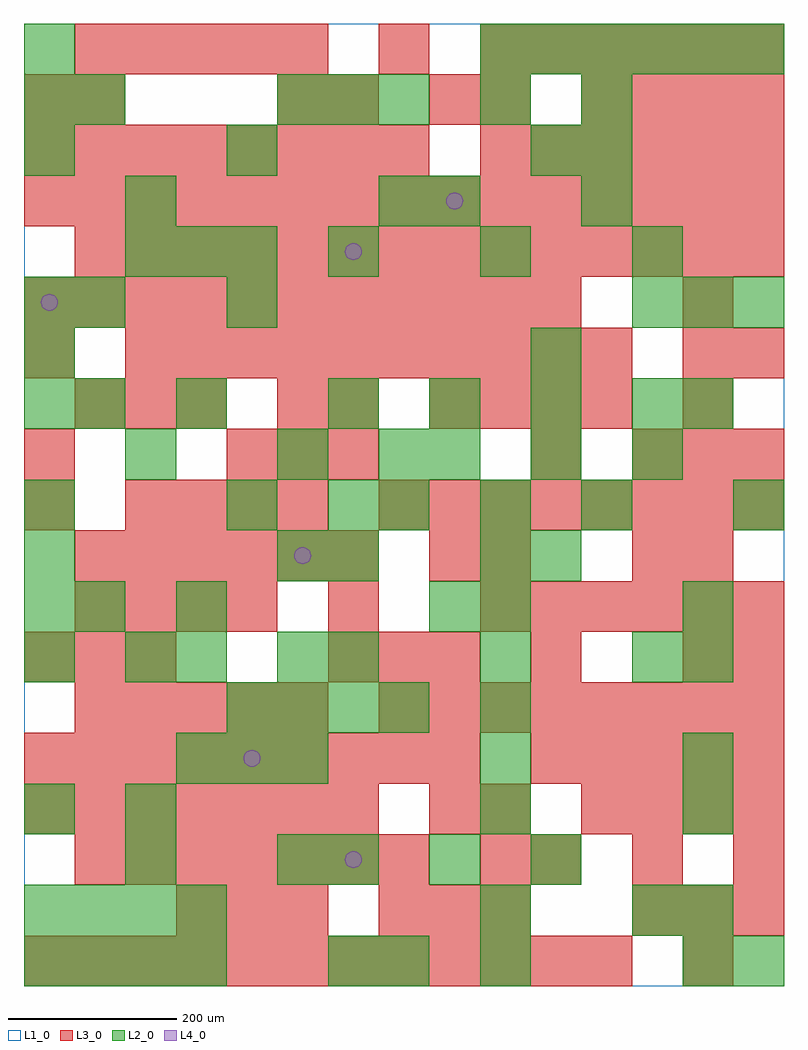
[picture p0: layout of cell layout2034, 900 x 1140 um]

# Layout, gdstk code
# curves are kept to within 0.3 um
import gdstk
lib = gdstk.Library(unit=1e-6, precision=1e-09)
def R(c, l, rs):  # rectangles x0, y0, x1, y1
    for r in rs: c.add(gdstk.rectangle(r[:2], r[2:], *l))
def A(c, l, x, y, w, h, nx, ny, dx, dy):  # array of equal rectangles
    R(c, l, [(x+i*dx, y+j*dy, x+i*dx+w, y+j*dy+h) for i in range(nx) for j in range(ny)])
def P(c, l, *ps):  # polygons
    for p in ps: c.add(gdstk.Polygon(p, *l))
L1_0 = (1, 0)
L2_0 = (2, 0)
L3_0 = (3, 0)
L4_0 = (4, 0)

layout2034 = lib.new_cell('layout2034')
R(layout2034, L1_0, [(0,0,900,1140)])
A(layout2034, L2_0, 0, 0, 60, 60, 4, 2, 60, 60)
A(layout2034, L2_0, 360, 120, 60, 60, 3, 1, 120, 0)
A(layout2034, L2_0, 540, 180, 60, 60, 1, 3, 0, 60)
A(layout2034, L2_0, 180, 240, 60, 60, 3, 1, 60, 0)
A(layout2034, L2_0, 240, 300, 60, 60, 4, 1, 60, 0)
A(layout2034, L2_0, 0, 360, 60, 60, 1, 4, 0, 60)
A(layout2034, L2_0, 300, 360, 60, 60, 1, 3, 0, 120)
A(layout2034, L2_0, 360, 360, 60, 60, 3, 2, 180, 480)
A(layout2034, L2_0, 600, 480, 60, 60, 1, 3, 0, 240)
A(layout2034, L2_0, 420, 540, 60, 60, 3, 1, 120, 0)
A(layout2034, L2_0, 480, 600, 60, 60, 3, 1, 120, 0)
A(layout2034, L2_0, 0, 660, 60, 60, 1, 3, 0, 60)
A(layout2034, L2_0, 360, 660, 60, 60, 4, 1, 120, 0)
A(layout2034, L2_0, 720, 780, 60, 60, 3, 1, 60, 0)
A(layout2034, L2_0, 120, 840, 60, 60, 3, 1, 60, 0)
A(layout2034, L2_0, 660, 900, 60, 60, 1, 3, 0, 60)
A(layout2034, L2_0, 0, 960, 60, 60, 1, 3, 0, 60)
A(layout2034, L2_0, 300, 1020, 60, 60, 3, 1, 60, 0)
A(layout2034, L2_0, 540, 1080, 60, 60, 6, 1, 60, 0)
R(layout2034, L2_0, [(360,0,420,60), (420,0,480,60), (540,0,600,60), (780,0,840,60), (840,0,900,60), (540,60,600,120), (720,60,780,120), (780,60,840,120), (120,120,180,180), (300,120,360,180), (0,180,60,240), (120,180,180,240), (780,180,840,240), (780,240,840,300), (120,360,180,420), (180,360,240,420), (780,360,840,420), (60,420,120,480), (180,420,240,480), (480,420,540,480), (540,420,600,480), (780,420,840,480), (360,480,420,540), (540,480,600,540), (240,540,300,600), (360,540,420,600), (840,540,900,600), (120,600,180,660), (420,600,480,660), (60,660,120,720), (180,660,240,720), (780,660,840,720), (60,780,120,840), (240,780,300,840), (120,900,180,960), (420,900,480,960), (480,900,540,960), (240,960,300,1020), (60,1020,120,1080), (540,1020,600,1080)])
A(layout2034, L3_0, 0, 0, 60, 60, 12, 1, 60, 0)
A(layout2034, L3_0, 180, 60, 60, 60, 3, 1, 60, 0)
A(layout2034, L3_0, 420, 60, 60, 60, 3, 1, 60, 0)
A(layout2034, L3_0, 720, 60, 60, 60, 3, 2, 60, 540)
A(layout2034, L3_0, 60, 120, 60, 60, 7, 1, 60, 0)
A(layout2034, L3_0, 600, 120, 60, 60, 3, 1, 120, 0)
A(layout2034, L3_0, 0, 180, 60, 60, 7, 1, 60, 0)
A(layout2034, L3_0, 660, 180, 60, 60, 4, 2, 60, 840)
A(layout2034, L3_0, 0, 240, 60, 60, 9, 1, 60, 0)
A(layout2034, L3_0, 600, 240, 60, 60, 5, 1, 60, 0)
A(layout2034, L3_0, 60, 300, 60, 60, 5, 2, 60, 780)
A(layout2034, L3_0, 420, 300, 60, 60, 8, 2, 60, 240)
A(layout2034, L3_0, 0, 360, 60, 60, 3, 1, 60, 0)
A(layout2034, L3_0, 360, 360, 60, 60, 3, 1, 60, 0)
A(layout2034, L3_0, 60, 420, 60, 60, 4, 1, 60, 0)
A(layout2034, L3_0, 540, 420, 60, 60, 6, 2, 60, 540)
A(layout2034, L3_0, 60, 480, 60, 60, 6, 1, 60, 0)
A(layout2034, L3_0, 120, 540, 60, 60, 4, 1, 60, 0)
A(layout2034, L3_0, 240, 600, 60, 60, 3, 1, 60, 0)
A(layout2034, L3_0, 60, 660, 60, 60, 3, 1, 60, 0)
A(layout2034, L3_0, 480, 660, 60, 60, 4, 1, 60, 0)
A(layout2034, L3_0, 780, 660, 60, 60, 1, 3, 0, 60)
A(layout2034, L3_0, 120, 720, 60, 60, 10, 1, 60, 0)
A(layout2034, L3_0, 0, 780, 60, 60, 11, 1, 60, 0)
A(layout2034, L3_0, 60, 840, 60, 60, 14, 1, 60, 0)
A(layout2034, L3_0, 0, 900, 60, 60, 15, 1, 60, 0)
A(layout2034, L3_0, 0, 960, 60, 60, 8, 1, 60, 0)
A(layout2034, L3_0, 540, 1080, 60, 60, 6, 1, 60, 0)
R(layout2034, L3_0, [(780,0,840,60), (540,120,600,180), (480,180,540,240), (540,180,600,240), (600,360,660,420), (780,360,840,420), (840,360,900,420), (360,420,420,480), (480,480,540,540), (540,480,600,540), (720,480,780,540), (780,480,840,540), (0,540,60,600), (0,600,60,660), (600,600,660,660), (300,660,360,720), (360,660,420,720), (0,720,60,780), (840,720,900,780), (0,1020,60,1080), (60,1020,120,1080), (300,1020,360,1080), (360,1020,420,1080), (480,1020,540,1080), (540,1020,600,1080), (420,1080,480,1140)])
P(layout2034, L4_0, [(40,810),(39.239,813.827),(37.071,817.071),(33.827,819.239),(30,820),(26.173,819.239),(22.929,817.071),(20.761,813.827),(20,810),(20.761,806.173),(22.929,802.929),(26.173,800.761),(30,800),(33.827,800.761),(37.071,802.929),(39.239,806.173)],
  [(280,270),(279.239,273.827),(277.071,277.071),(273.827,279.239),(270,280),(266.173,279.239),(262.929,277.071),(260.761,273.827),(260,270),(260.761,266.173),(262.929,262.929),(266.173,260.761),(270,260),(273.827,260.761),(277.071,262.929),(279.239,266.173)],
  [(340,510),(339.239,513.827),(337.071,517.071),(333.827,519.239),(330,520),(326.173,519.239),(322.929,517.071),(320.761,513.827),(320,510),(320.761,506.173),(322.929,502.929),(326.173,500.761),(330,500),(333.827,500.761),(337.071,502.929),(339.239,506.173)],
  [(400,150),(399.239,153.827),(397.071,157.071),(393.827,159.239),(390,160),(386.173,159.239),(382.929,157.071),(380.761,153.827),(380,150),(380.761,146.173),(382.929,142.929),(386.173,140.761),(390,140),(393.827,140.761),(397.071,142.929),(399.239,146.173)],
  [(400,870),(399.239,873.827),(397.071,877.071),(393.827,879.239),(390,880),(386.173,879.239),(382.929,877.071),(380.761,873.827),(380,870),(380.761,866.173),(382.929,862.929),(386.173,860.761),(390,860),(393.827,860.761),(397.071,862.929),(399.239,866.173)],
  [(520,930),(519.239,933.827),(517.071,937.071),(513.827,939.239),(510,940),(506.173,939.239),(502.929,937.071),(500.761,933.827),(500,930),(500.761,926.173),(502.929,922.929),(506.173,920.761),(510,920),(513.827,920.761),(517.071,922.929),(519.239,926.173)])

lib.write_gds('layout2034.gds')
